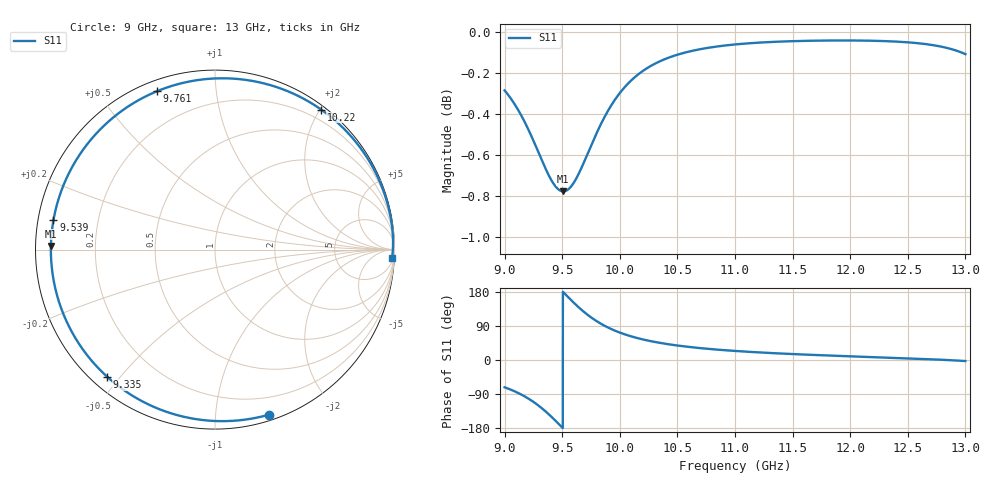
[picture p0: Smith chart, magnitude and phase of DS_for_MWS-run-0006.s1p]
! TOUCHSTONE file generated by CST DESIGN STUDIO
! Date and time: Tue Feb  4 16:14:27 2025
! Project name: C:\Work\MatlabApps\UnitCellOptimizationMatlab\CST\unitcell.cst
! Tree item: Tasks\Sweep1\SPara1\S-Parameters
! Header version: 2024
! Port assignment regex: !\s*Touchstone port\s*([0-9]+)\s*=\s*(CST MWS port|CST DES external port|CST DES block port)\s*(.+)\s* \(\"(.*)\"\)(\s*mode\s*([0-9]+))?.*
! Touchstone port assignment:
! Touchstone port 1 = CST DES external port 1 ("")
# GHz S MA R 50
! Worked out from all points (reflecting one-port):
!   4001 points, 9 GHz to 13 GHz, reference 50 ohm
!   lowest |S11| = -0.8 dB at 9.51 GHz (marker M1), VSWR 22.37, Z = 2.24 + j0.547 ohm
!   phase of S11 starts at -72 deg and turns -291 deg over the sweep
!   S11 on the Smith chart (normalised r, x): 9 GHz: 0.05, -1.37; 9.335 GHz: 0.04, -0.46; 9.539 GHz: 0.04, +0.09; 9.761 GHz: 0.05, +0.70; 10.22 GHz: 0.05, +2.01; 13 GHz: 10, -39
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9  0.9676 -72.0
9.091  0.9598 -83.2
9.195  0.9481 -99.7
9.268  0.9383 -114.4
9.335  0.9289 -130.3
9.379  0.9232 -142.0
9.425  0.9183 -155.2
9.463  0.9157 -166.7
9.5  0.9145 -178.1
9.51  0.9144 178.7
9.539  0.9149 169.7
9.592  0.9181 153.7
9.653  0.9247 136.3
9.706  0.9318 122.7
9.761  0.9396 110.2
9.81  0.9462 100.4
9.864  0.9529 91.0
10  0.9662 72.4
10.104  0.9733 61.9
10.221  0.9791 52.8
10.35  0.9835 45.1
10.5  0.9871 38.2
10.722  0.9904 30.7
11  0.9928 23.9
11.5  0.9946 15.7
12  0.995 9.7
12.5  0.994 4.4
13  0.9874 -2.8
